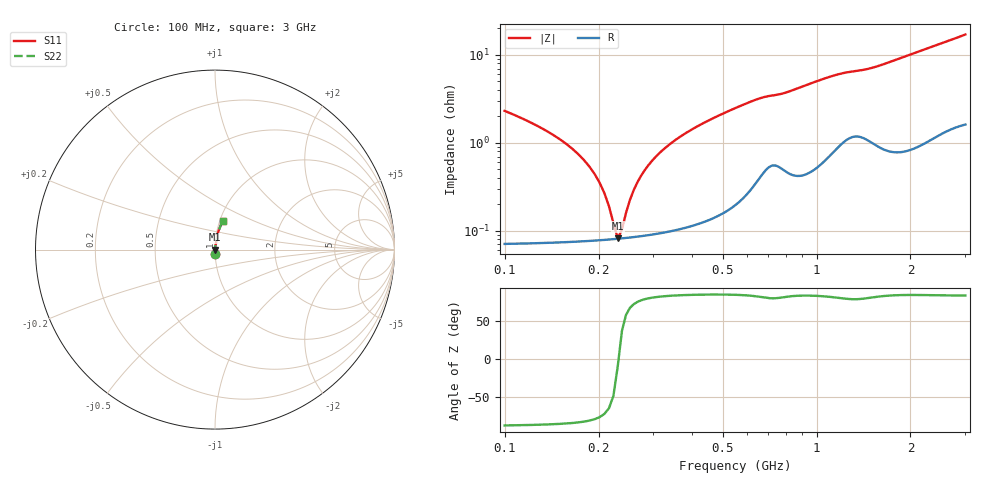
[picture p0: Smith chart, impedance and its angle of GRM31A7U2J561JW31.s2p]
!Murata Part Number: GRM31A7U2J561JW31
!These Parameters are Measured in Series Mode Connection
!Data Generated on Mar 30, 2021
!  o--ll--o
!Port1  Port2
!  o------o
!Operation Temp=25[degC], DC Bias Voltage=0[V]
!Freq. Start=100[MHz] Stop=3[GHz] 401[Steps]
# Hz S RI R 50
!Freq.(Hz) S11(Real) S11(Imag) S21(Real) S21(Imag) S12(Real) S12(Imag) S22(Real) S22(Imag)
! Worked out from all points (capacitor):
!   401 points, 100 MHz to 3 GHz, reference 50 ohm
!   read as one part in series: C = 559 pF near 114.5 MHz
!   lowest |Z| = 82.4 mohm at 230.5 MHz (marker M1)
!   series resonance near 231.8 MHz, so ESL is about 840 pH
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1e8  0.00124 -0.0231  0.9988 0.0231  0.9988 0.0231  0.00124 -0.0231
1.145e8  0.00107 -0.0188  0.9989 0.0188  0.9989 0.0188  0.00107 -0.0188
1.435e8  0.000883 -0.0122  0.9991 0.0122  0.9991 0.0122  0.000883 -0.0122
1.7975e8  0.000801 -0.00631  0.9992 0.00631  0.9992 0.00631  0.000801 -0.00631
2.015e8  0.000793 -0.00345  0.9992 0.00345  0.9992 0.00345  0.000793 -0.00345
2.2325e8  0.000805 -0.000923  0.9992 0.000923  0.9992 0.000923  0.000805 -0.000923
2.305e8  0.000812 -0.000136  0.9992 0.000136  0.9992 0.000136  0.000812 -0.000136
2.3775e8  0.000821 0.000626  0.9992 -0.000626  0.9992 -0.000626  0.000821 0.000626
2.45e8  0.000832 0.00137  0.9992 -0.00137  0.9992 -0.00137  0.000832 0.00137
2.595e8  0.000857 0.00279  0.9991 -0.00279  0.9991 -0.00279  0.000857 0.00279
2.8125e8  0.000904 0.0048  0.9991 -0.0048  0.9991 -0.0048  0.000904 0.0048
3.03e8  0.000961 0.0067  0.999 -0.0067  0.999 -0.0067  0.000961 0.0067
3.32e8  0.00105 0.00909  0.9989 -0.00909  0.9989 -0.00909  0.00105 0.00909
3.755e8  0.00123 0.0125  0.9988 -0.0125  0.9988 -0.0125  0.00123 0.0125
4.335e8  0.00153 0.0167  0.9985 -0.0167  0.9985 -0.0167  0.00153 0.0167
5.8575e8  0.00314 0.0272  0.9969 -0.0272  0.9969 -0.0272  0.00314 0.0272
6.7275e8  0.0055 0.0323  0.9945 -0.0323  0.9945 -0.0323  0.0055 0.0323
1.0715e9  0.00928 0.0535  0.9907 -0.0535  0.9907 -0.0535  0.00928 0.0535
1.55e9  0.0144 0.0712  0.9856 -0.0712  0.9856 -0.0712  0.0144 0.0712
2.03575e9  0.0188 0.1006  0.9812 -0.1006  0.9812 -0.1006  0.0188 0.1006
2.5215e9  0.0299 0.1299  0.9701 -0.1299  0.9701 -0.1299  0.0299 0.1299
3e9  0.0428 0.1604  0.9572 -0.1604  0.9572 -0.1604  0.0428 0.1604
